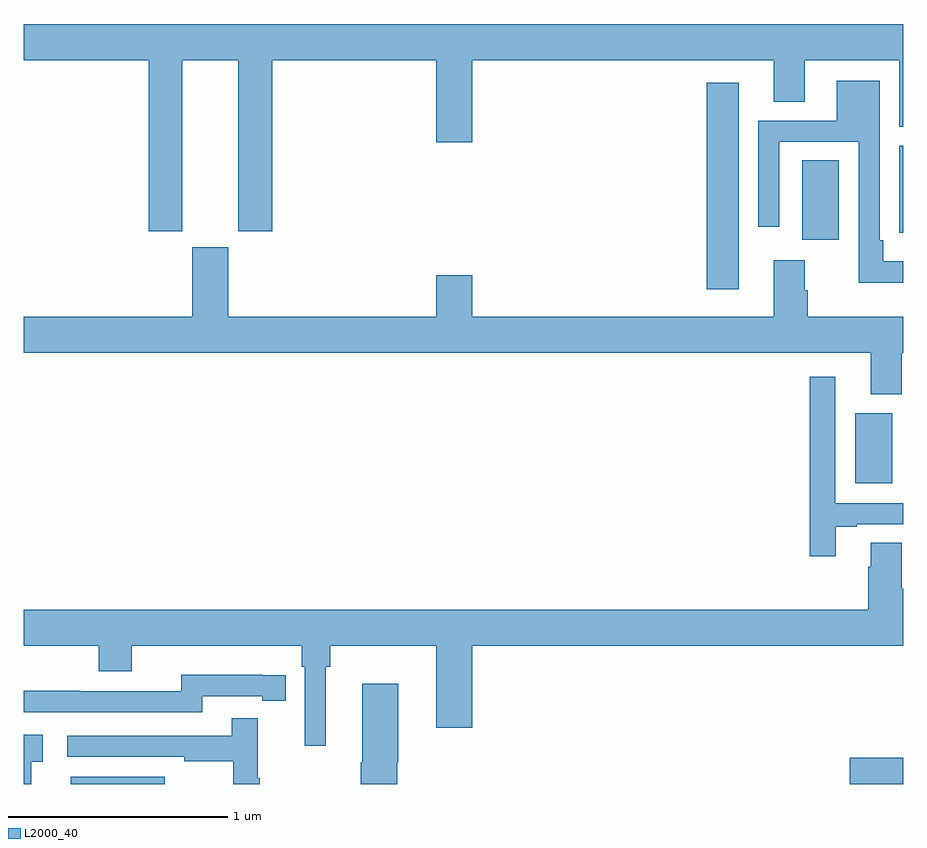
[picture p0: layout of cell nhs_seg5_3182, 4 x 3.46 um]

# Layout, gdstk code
import gdstk
lib = gdstk.Library(unit=1e-6, precision=1e-09)
def R(c, l, rs):  # rectangles x0, y0, x1, y1
    for r in rs: c.add(gdstk.rectangle(r[:2], r[2:], *l))
def P(c, l, *ps):  # polygons
    for p in ps: c.add(gdstk.Polygon(p, *l))
L2000_40 = (2000, 40)

nhs_seg5_3182 = lib.new_cell('nhs_seg5_3182')
R(nhs_seg5_3182, L2000_40, [(295.214,854.799,295.642,854.833), (298.758,854.799,299,854.918), (298.781,856.166,298.951,856.486), (298.106,857.049,298.252,857.989), (298.541,857.274,298.708,857.636)])
P(nhs_seg5_3182, L2000_40, [(295.72,858.092),(295.976,858.092),(295.976,857.313),(296.129,857.313),(296.129,858.092),(296.876,858.092),(296.876,857.718),(297.04,857.718),(297.04,858.092),(298.412,858.092),(298.412,857.902),(298.552,857.902),(298.552,858.092),(298.982,858.092),(298.982,857.788),(299,857.788),(299,858.256),(295,858.256),(295,858.092),(295.568,858.092),(295.568,857.313),(295.72,857.313)],
  [(299,857.176),(298.909,857.176),(298.909,857.272),(298.893,857.272),(298.893,857.998),(298.697,857.998),(298.697,857.817),(298.341,857.817),(298.341,857.334),(298.437,857.334),(298.437,857.721),(298.797,857.721),(298.797,857.078),(299,857.078)],
  [(299,857.703),(298.982,857.703),(298.982,857.419),(298.983,857.419),(298.983,857.307),(299,857.307)],
  [(298.993,856.76),(299,856.76),(299,856.924),(298.565,856.924),(298.565,857.045),(298.552,857.045),(298.552,857.182),(298.412,857.182),(298.412,856.924),(297.04,856.924),(297.04,857.113),(296.876,857.113),(296.876,856.924),(295.93,856.924),(295.93,857.241),(295.766,857.241),(295.766,856.924),(295,856.924),(295,856.76),(298.853,856.76),(298.853,856.571),(298.993,856.571)],
  [(298.693,855.969),(298.789,855.969),(298.789,855.981),(299,855.981),(299,856.077),(298.692,856.077),(298.692,856.651),(298.576,856.651),(298.576,855.834),(298.693,855.834)],
  [(296.374,855.332),(296.393,855.332),(296.393,855.428),(296.876,855.428),(296.876,855.054),(297.04,855.054),(297.04,855.428),(299,855.428),(299,855.688),(298.993,855.688),(298.993,855.896),(298.853,855.896),(298.853,855.788),(298.841,855.788),(298.841,855.592),(295,855.592),(295,855.428),(295.34,855.428),(295.34,855.311),(295.492,855.311),(295.492,855.428),(296.264,855.428),(296.264,855.332),(296.277,855.332),(296.277,854.973),(296.374,854.973)],
  [(295.812,855.198),(296.084,855.198),(296.084,855.178),(296.192,855.178),(296.192,855.294),(296.084,855.294),(296.084,855.295),(295.716,855.295),(295.716,855.222),(295.256,855.222),(295.256,855.224),(295,855.224),(295,855.126),(295.812,855.126)],
  [(296.699,854.898),(296.704,854.898),(296.704,855.256),(296.54,855.256),(296.54,854.898),(296.533,854.898),(296.533,854.799),(296.699,854.799)],
  [(296.074,854.825),(296.063,854.825),(296.063,855.097),(295.945,855.097),(295.945,855.018),(295.197,855.018),(295.197,854.922),(295.729,854.922),(295.729,854.902),(295.953,854.902),(295.953,854.799),(296.074,854.799)],
  [(295.034,854.901),(295.087,854.901),(295.087,855.022),(295,855.022),(295,854.799),(295.034,854.799)])

lib.write_gds('nhs_seg5_3182.gds')
